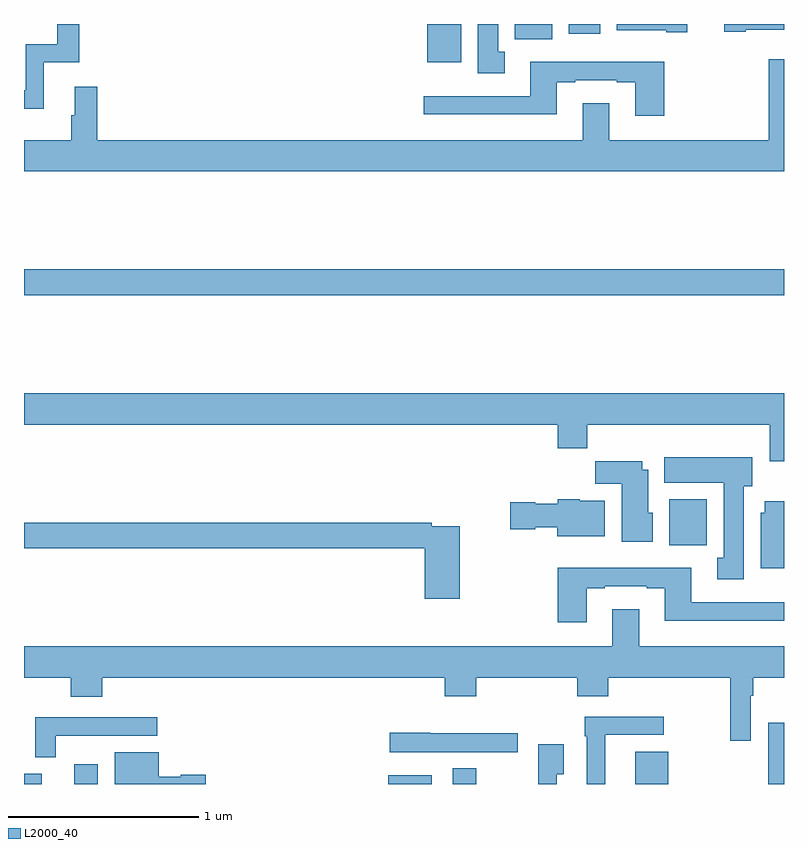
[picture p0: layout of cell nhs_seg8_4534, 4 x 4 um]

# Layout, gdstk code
import gdstk
lib = gdstk.Library(unit=1e-6, precision=1e-09)
def R(c, l, rs):  # rectangles x0, y0, x1, y1
    for r in rs: c.add(gdstk.rectangle(r[:2], r[2:], *l))
def P(c, l, *ps):  # polygons
    for p in ps: c.add(gdstk.Polygon(p, *l))
L2000_40 = (2000, 40)

nhs_seg8_4534 = lib.new_cell('nhs_seg8_4534')
R(nhs_seg8_4534, L2000_40, [(385,1155.9,385.093,1155.955), (385.265,1155.9,385.387,1156.003), (386.918,1155.9,387.145,1155.946), (387.257,1155.9,387.379,1155.983), (388.217,1155.9,388.39,1156.069), (388.916,1155.9,389,1156.222), (388.397,1157.156,388.594,1157.398), (385,1158.472,389,1158.608), (387.122,1159.7,387.301,1159.9), (387.584,1159.82,387.781,1159.9), (387.866,1159.848,388.033,1159.9)])
P(nhs_seg8_4534, L2000_40, [(385.105,1159.698),(385.292,1159.698),(385.292,1159.9),(385.176,1159.9),(385.176,1159.794),(385.008,1159.794),(385.008,1159.551),(385,1159.551),(385,1159.454),(385.105,1159.454)],
  [(388.492,1159.9),(388.121,1159.9),(388.121,1159.868),(388.379,1159.868),(388.379,1159.856),(388.492,1159.856)],
  [(388.798,1159.871),(389,1159.871),(389,1159.9),(388.686,1159.9),(388.686,1159.859),(388.798,1159.859)],
  [(387.529,1159.754),(387.496,1159.754),(387.496,1159.9),(387.389,1159.9),(387.389,1159.641),(387.529,1159.641)],
  [(387.941,1159.483),(387.941,1159.288),(385.385,1159.288),(385.385,1159.57),(385.268,1159.57),(385.268,1159.421),(385.249,1159.421),(385.249,1159.288),(385,1159.288),(385,1159.124),(389,1159.124),(389,1159.714),(388.919,1159.714),(388.919,1159.288),(388.081,1159.288),(388.081,1159.483)],
  [(388.37,1159.702),(387.665,1159.702),(387.665,1159.521),(387.105,1159.521),(387.105,1159.424),(387.805,1159.424),(387.805,1159.593),(387.901,1159.593),(387.901,1159.605),(388.121,1159.605),(388.121,1159.593),(388.217,1159.593),(388.217,1159.416),(388.37,1159.416)],
  [(389,1157.956),(385,1157.956),(385,1157.792),(387.809,1157.792),(387.809,1157.668),(387.965,1157.668),(387.965,1157.792),(388.925,1157.792),(388.925,1157.598),(389,1157.598)],
  [(388.789,1157.466),(388.834,1157.466),(388.834,1157.62),(388.37,1157.62),(388.37,1157.486),(388.682,1157.486),(388.682,1157.09),(388.649,1157.09),(388.649,1156.977),(388.789,1156.977)],
  [(388.309,1157.328),(388.285,1157.328),(388.285,1157.554),(388.255,1157.554),(388.255,1157.599),(388.006,1157.599),(388.006,1157.48),(388.145,1157.48),(388.145,1157.174),(388.309,1157.174)],
  [(388.057,1157.392),(387.924,1157.392),(387.924,1157.398),(387.81,1157.398),(387.81,1157.374),(387.69,1157.374),(387.69,1157.382),(387.558,1157.382),(387.558,1157.24),(387.69,1157.24),(387.69,1157.252),(387.806,1157.252),(387.806,1157.204),(388.057,1157.204)],
  [(389,1157.389),(388.898,1157.389),(388.898,1157.328),(388.877,1157.328),(388.877,1157.036),(389,1157.036)],
  [(387.293,1157.256),(387.146,1157.256),(387.146,1157.276),(385,1157.276),(385,1157.14),(387.11,1157.14),(387.11,1156.875),(387.293,1156.875)],
  [(387.961,1156.929),(388.057,1156.929),(388.057,1156.941),(388.277,1156.941),(388.277,1156.929),(388.373,1156.929),(388.373,1156.76),(389,1156.76),(389,1156.857),(388.513,1156.857),(388.513,1157.038),(387.809,1157.038),(387.809,1156.752),(387.961,1156.752)],
  [(388.824,1156.364),(388.837,1156.364),(388.837,1156.46),(389,1156.46),(389,1156.624),(388.237,1156.624),(388.237,1156.819),(388.097,1156.819),(388.097,1156.624),(385,1156.624),(385,1156.46),(385.247,1156.46),(385.247,1156.358),(385.412,1156.358),(385.412,1156.46),(387.215,1156.46),(387.215,1156.361),(387.38,1156.361),(387.38,1156.46),(387.911,1156.46),(387.911,1156.361),(388.076,1156.361),(388.076,1156.46),(388.716,1156.46),(388.716,1156.128),(388.824,1156.128)],
  [(388.059,1155.961),(388.06,1155.961),(388.06,1156.158),(388.366,1156.158),(388.366,1156.254),(387.951,1156.254),(387.951,1156.151),(387.963,1156.151),(387.963,1155.9),(388.059,1155.9)],
  [(385.168,1156.154),(385.382,1156.154),(385.382,1156.155),(385.702,1156.155),(385.702,1156.251),(385.058,1156.251),(385.058,1156.04),(385.168,1156.04)],
  [(387.598,1156.166),(387.137,1156.166),(387.137,1156.169),(386.925,1156.169),(386.925,1156.068),(387.598,1156.068)],
  [(387.804,1155.952),(387.841,1155.952),(387.841,1156.108),(387.706,1156.108),(387.706,1155.9),(387.804,1155.9)],
  [(385.957,1155.95),(385.824,1155.95),(385.824,1155.937),(385.708,1155.937),(385.708,1156.066),(385.478,1156.066),(385.478,1155.9),(385.957,1155.9)])

lib.write_gds('nhs_seg8_4534.gds')
